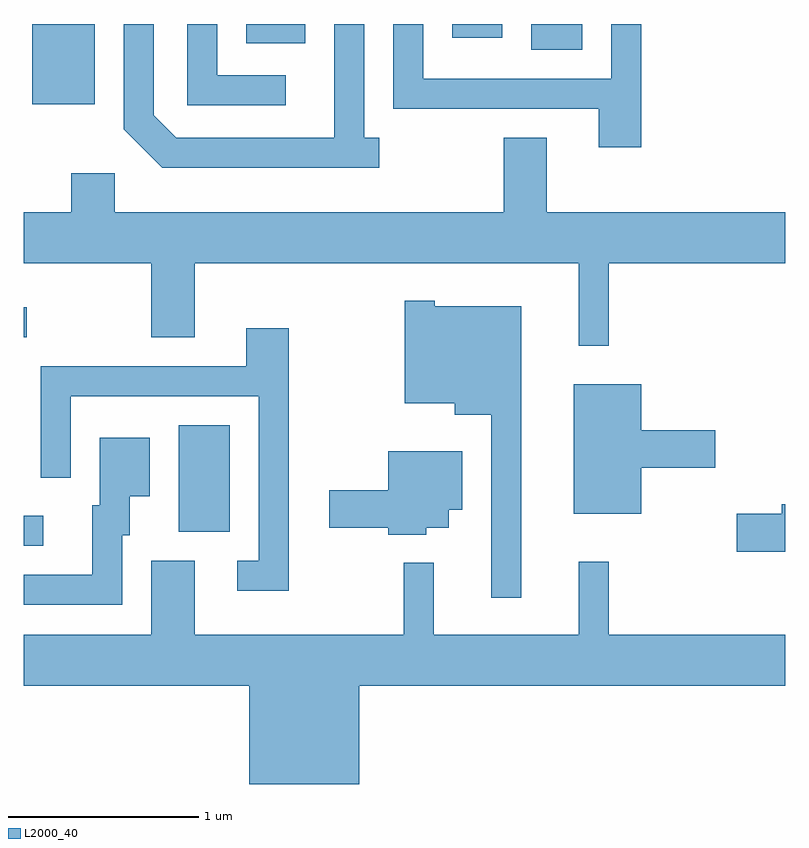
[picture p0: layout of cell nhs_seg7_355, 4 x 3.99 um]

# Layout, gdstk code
import gdstk
lib = gdstk.Library(unit=1e-6, precision=1e-09)
def R(c, l, rs):  # rectangles x0, y0, x1, y1
    for r in rs: c.add(gdstk.rectangle(r[:2], r[2:], *l))
def P(c, l, *ps):  # polygons
    for p in ps: c.add(gdstk.Polygon(p, *l))
L2000_40 = (2000, 40)

nhs_seg7_355 = lib.new_cell('nhs_seg7_355')
R(nhs_seg7_355, L2000_40, [(195.611,1699.511,195.713,1699.669), (196.426,1699.586,196.694,1700.144), (195.611,1700.606,195.628,1700.764), (195.656,1701.831,195.984,1702.252), (198.276,1702.116,198.544,1702.252), (196.781,1702.151,197.089,1702.252), (197.861,1702.181,198.124,1702.252)])
P(nhs_seg7_355, L2000_40, [(198.854,1702.252),(198.696,1702.252),(198.696,1701.964),(197.709,1701.964),(197.709,1702.252),(197.551,1702.252),(197.551,1701.806),(198.631,1701.806),(198.631,1701.606),(198.854,1701.606)],
  [(197.478,1701.654),(197.399,1701.654),(197.399,1702.252),(197.241,1702.252),(197.241,1701.654),(196.412,1701.654),(196.294,1701.772),(196.294,1702.252),(196.136,1702.252),(196.136,1701.699),(196.339,1701.496),(197.478,1701.496)],
  [(196.988,1701.984),(196.629,1701.984),(196.629,1702.252),(196.471,1702.252),(196.471,1701.826),(196.988,1701.826)],
  [(198.684,1700.996),(199.611,1700.996),(199.611,1701.264),(198.359,1701.264),(198.359,1701.654),(198.131,1701.654),(198.131,1701.264),(196.089,1701.264),(196.089,1701.469),(195.861,1701.469),(195.861,1701.264),(195.611,1701.264),(195.611,1700.996),(196.281,1700.996),(196.281,1700.606),(196.509,1700.606),(196.509,1700.996),(198.526,1700.996),(198.526,1700.563),(198.684,1700.563)],
  [(198.224,1700.769),(197.769,1700.769),(197.769,1700.799),(197.611,1700.799),(197.611,1700.261),(197.876,1700.261),(197.876,1700.201),(198.066,1700.201),(198.066,1699.238),(198.224,1699.238)],
  [(197.004,1700.654),(196.781,1700.654),(196.781,1700.454),(195.701,1700.454),(195.701,1699.868),(195.859,1699.868),(195.859,1700.296),(196.846,1700.296),(196.846,1699.434),(196.733,1699.434),(196.733,1699.276),(197.004,1699.276)],
  [(198.854,1699.921),(199.244,1699.921),(199.244,1700.119),(198.854,1700.119),(198.854,1700.359),(198.501,1700.359),(198.501,1699.681),(198.854,1699.681)],
  [(196.129,1699.566),(196.169,1699.566),(196.169,1699.771),(196.274,1699.771),(196.274,1700.079),(196.011,1700.079),(196.011,1699.724),(195.971,1699.724),(195.971,1699.359),(195.611,1699.359),(195.611,1699.201),(196.129,1699.201)],
  [(197.724,1699.606),(197.844,1699.606),(197.844,1699.701),(197.914,1699.701),(197.914,1700.009),(197.526,1700.009),(197.526,1699.804),(197.216,1699.804),(197.216,1699.606),(197.526,1699.606),(197.526,1699.571),(197.724,1699.571)],
  [(199.611,1699.729),(199.591,1699.729),(199.591,1699.679),(199.356,1699.679),(199.356,1699.481),(199.611,1699.481)],
  [(197.374,1698.776),(199.611,1698.776),(199.611,1699.044),(198.684,1699.044),(198.684,1699.428),(198.526,1699.428),(198.526,1699.044),(197.764,1699.044),(197.764,1699.423),(197.606,1699.423),(197.606,1699.044),(196.509,1699.044),(196.509,1699.434),(196.281,1699.434),(196.281,1699.044),(195.611,1699.044),(195.611,1698.776),(196.796,1698.776),(196.796,1698.261),(197.374,1698.261)])

lib.write_gds('nhs_seg7_355.gds')
